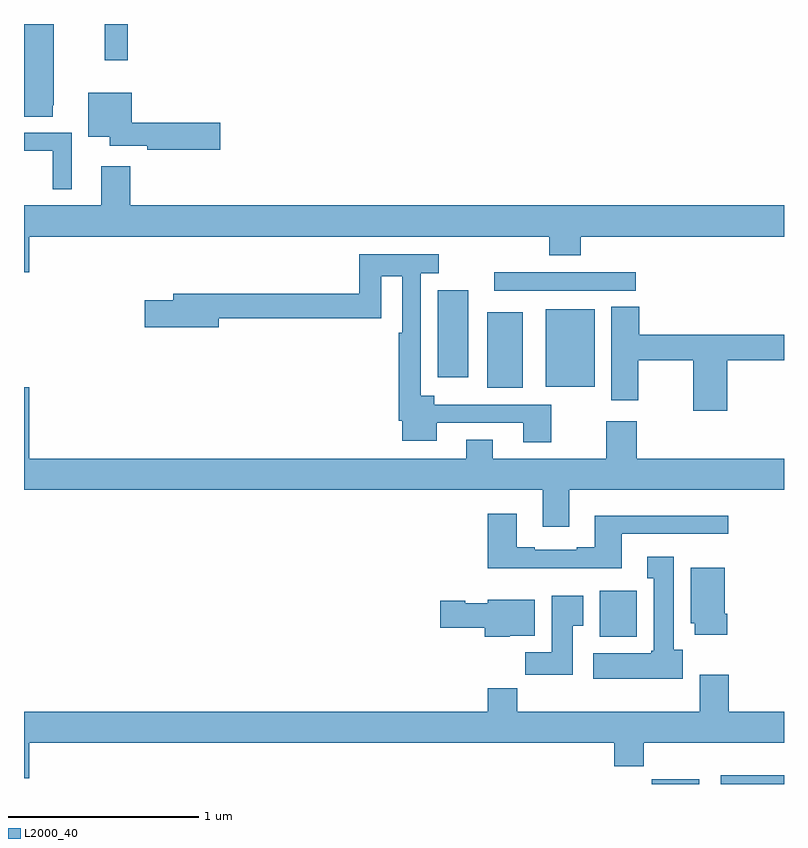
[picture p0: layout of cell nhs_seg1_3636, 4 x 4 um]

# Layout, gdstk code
import gdstk
lib = gdstk.Library(unit=1e-6, precision=1e-09)
def R(c, l, rs):  # rectangles x0, y0, x1, y1
    for r in rs: c.add(gdstk.rectangle(r[:2], r[2:], *l))
def P(c, l, *ps):  # polygons
    for p in ps: c.add(gdstk.Polygon(p, *l))
L2000_40 = (2000, 40)

nhs_seg1_3636 = lib.new_cell('nhs_seg1_3636')
R(nhs_seg1_3636, L2000_40, [(312.304,534.199,312.553,534.223), (312.668,534.199,313,534.244), (312.029,534.974,312.226,535.216), (311.438,536.285,311.626,536.683), (311.747,536.291,312.004,536.698), (311.177,536.34,311.338,536.797), (311.475,536.796,312.22,536.892), (309.424,538.008,309.545,538.199)])
P(nhs_seg1_3636, L2000_40, [(309.151,537.771),(309.157,537.771),(309.157,538.199),(309,538.199),(309,537.712),(309.151,537.712)],
  [(310.033,537.68),(309.568,537.68),(309.568,537.838),(309.338,537.838),(309.338,537.605),(309.452,537.605),(309.452,537.557),(309.648,537.557),(309.648,537.538),(310.033,537.538)],
  [(309.25,537.627),(309,537.627),(309,537.531),(309.152,537.531),(309.152,537.33),(309.25,537.33)],
  [(309.028,537.08),(311.765,537.08),(311.765,536.981),(311.93,536.981),(311.93,537.08),(313,537.08),(313,537.244),(309.56,537.244),(309.56,537.451),(309.407,537.451),(309.407,537.244),(309,537.244),(309,536.892),(309.028,536.892)],
  [(311.775,536.196),(311.158,536.196),(311.158,536.242),(311.088,536.242),(311.088,536.888),(311.182,536.888),(311.182,536.988),(310.765,536.988),(310.765,536.779),(309.785,536.779),(309.785,536.745),(309.636,536.745),(309.636,536.603),(310.024,536.603),(310.024,536.65),(310.881,536.65),(310.881,536.872),(310.992,536.872),(310.992,536.573),(310.972,536.573),(310.972,536.11),(310.991,536.11),(310.991,536.006),(311.173,536.006),(311.173,536.1),(311.627,536.1),(311.627,535.998),(311.775,535.998)],
  [(312.701,536.428),(313,536.428),(313,536.564),(312.239,536.564),(312.239,536.711),(312.092,536.711),(312.092,536.22),(312.234,536.22),(312.234,536.428),(312.523,536.428),(312.523,536.163),(312.701,536.163)],
  [(311.869,535.748),(313,535.748),(313,535.912),(312.224,535.912),(312.224,536.107),(312.064,536.107),(312.064,535.912),(311.467,535.912),(311.467,536.011),(311.327,536.011),(311.327,535.912),(309.028,535.912),(309.028,536.287),(309,536.287),(309,535.748),(311.729,535.748),(311.729,535.554),(311.869,535.554)],
  [(312.145,535.515),(312.706,535.515),(312.706,535.612),(312.005,535.612),(312.005,535.444),(311.909,535.444),(311.909,535.431),(311.689,535.431),(311.689,535.444),(311.593,535.444),(311.593,535.621),(311.441,535.621),(311.441,535.334),(312.145,535.334)],
  [(312.466,534.906),(312.421,534.906),(312.421,535.396),(312.281,535.396),(312.281,535.283),(312.314,535.283),(312.314,534.9),(312.301,534.9),(312.301,534.886),(311.997,534.886),(311.997,534.752),(312.466,534.752)],
  [(312.701,535.096),(312.688,535.096),(312.688,535.336),(312.509,535.336),(312.509,535.044),(312.53,535.044),(312.53,534.984),(312.701,534.984)],
  [(311.887,535.033),(311.944,535.033),(311.944,535.189),(311.777,535.189),(311.777,534.892),(311.638,534.892),(311.638,534.774),(311.887,534.774)],
  [(311.556,534.98),(311.689,534.98),(311.689,535.168),(311.442,535.168),(311.442,535.15),(311.322,535.15),(311.322,535.163),(311.19,535.163),(311.19,535.021),(311.426,535.021),(311.426,534.974),(311.556,534.974)],
  [(309.028,534.416),(312.107,534.416),(312.107,534.292),(312.263,534.292),(312.263,534.416),(313,534.416),(313,534.58),(312.71,534.58),(312.71,534.775),(312.557,534.775),(312.557,534.58),(311.597,534.58),(311.597,534.704),(311.441,534.704),(311.441,534.58),(309,534.58),(309,534.228),(309.028,534.228)])

lib.write_gds('nhs_seg1_3636.gds')
